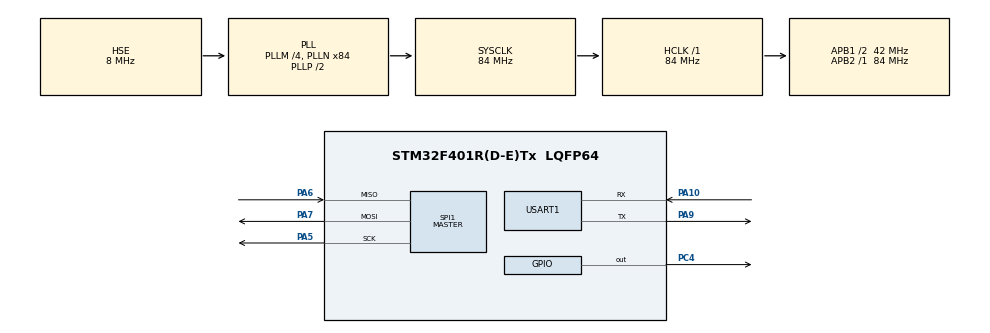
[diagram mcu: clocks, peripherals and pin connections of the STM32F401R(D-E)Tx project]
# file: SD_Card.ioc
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FATFS._MAX_SS=4096
FATFS._USE_LFN=1
Mcu.Family=STM32F4
Mcu.Name=STM32F401R(D-E)Tx
Mcu.Package=LQFP64
NVIC.PriorityGroup=NVIC_PRIORITYGROUP_0
PA10.Mode=Asynchronous
PA10.Signal=USART1_RX
PA13.Mode=Serial_Wire
PA13.Signal=SYS_JTMS-SWDIO
PA14.Mode=Serial_Wire
PA14.Signal=SYS_JTCK-SWCLK
PA5.Mode=Full_Duplex_Master
PA5.Signal=SPI1_SCK
PA6.Mode=Full_Duplex_Master
PA6.Signal=SPI1_MISO
PA7.Mode=Full_Duplex_Master
PA7.Signal=SPI1_MOSI
PA9.Mode=Asynchronous
PA9.Signal=USART1_TX
PC4.Signal=GPIO_Output
PH0\ -\ OSC_IN.Mode=HSE-External-Oscillator
PH0\ -\ OSC_IN.Signal=RCC_OSC_IN
PH1\ -\ OSC_OUT.Mode=HSE-External-Oscillator
PH1\ -\ OSC_OUT.Signal=RCC_OSC_OUT
ProjectManager.HeapSize=0x200
ProjectManager.StackSize=0x400
ProjectManager.TargetToolchain=STM32CubeIDE
RCC.48MHZClocksFreq_Value=24000000
RCC.AHBFreq_Value=84000000
RCC.APB1CLKDivider=RCC_HCLK_DIV2
RCC.APB1Freq_Value=42000000
RCC.APB1TimFreq_Value=84000000
RCC.APB2Freq_Value=84000000
RCC.APB2TimFreq_Value=84000000
RCC.CortexFreq_Value=84000000
RCC.HCLKFreq_Value=84000000
RCC.HSE_VALUE=8000000
RCC.HSI_VALUE=16000000
RCC.LSE_VALUE=32768
RCC.PLLM=4
RCC.PLLN=84
RCC.PLLQ=7
RCC.PLLSourceVirtual=RCC_PLLSOURCE_HSE
RCC.SYSCLKFreq_VALUE=84000000
RCC.SYSCLKSource=RCC_SYSCLKSOURCE_PLLCLK
RCC.VCOOutputFreq_Value=168000000
SPI1.BaudRatePrescaler=SPI_BAUDRATEPRESCALER_8
SPI1.Direction=SPI_DIRECTION_2LINES
SPI1.Mode=SPI_MODE_MASTER
SPI1.VirtualType=VM_MASTER
USART1.VirtualMode=VM_ASYNC
VP_FATFS_VS_Generic.Mode=User_defined
board=NUCLEO-F401RE

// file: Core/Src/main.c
/* USER CODE BEGIN Header */
/**
  ******************************************************************************
  * @file           : main.c
  * @brief          : Main program body
  ******************************************************************************
  * @attention
  *
  * <h2><center>&copy; Copyright (c) 2020 STMicroelectronics.
  * All rights reserved.</center></h2>
  *
  * This software component is licensed by ST under Ultimate Liberty license
  * SLA0044, the "License"; You may not use this file except in compliance with
  * the License. You may obtain a copy of the License at:
  *                             www.st.com/SLA0044
  *
  ******************************************************************************
  */
/* USER CODE END Header */

#include "main.h"
#include "fatfs.h"

/* USER CODE BEGIN Includes */
#include "fatfs_sd.h"
#include "string.h"
#include "stdio.h"
/* USER CODE END Includes */

SPI_HandleTypeDef hspi1;

UART_HandleTypeDef huart1;

void SystemClock_Config(void);
static void MX_GPIO_Init(void);
static void MX_SPI1_Init(void);
static void MX_USART1_UART_Init(void);

/* USER CODE BEGIN 0 */
FATFS fs; //system
FIL fil; //file
FRESULT fresult; //to store result
char buffer[1024]; //to storre data

UINT br,bw; //file read Write count

// capacity related variables
FATFS *pfs;
DWORD fre_clust;
uint32_t total, free_space;

//send data on uart
void send_uart(char *string)
{
	uint8_t len = strlen(string);
	HAL_UART_Transmit(&huart1, (uint8_t *)string, len, 2000);
}

//to find the size  of data in the buffer
int bufsize(char *buf)
{
	int i=0;
	while(*buf++ != '\0') i++;
	return i;
}

void bufclear(void)
{
	for(int i=0;i<1024;i++)
	{
		buffer[i] = '\0';
	}
}
/* USER CODE END 0 */

int main(void)
{

  /* MCU Configuration--------------------------------------------------------*/

  /* Reset of all peripherals, Initializes the Flash interface and the Systick. */
  HAL_Init();

  /* Configure the system clock */
  SystemClock_Config();

  /* Initialize all configured peripherals */
  MX_GPIO_Init();
  MX_SPI1_Init();
  MX_USART1_UART_Init();
  MX_FATFS_Init();
  /* USER CODE BEGIN 2 */
  fresult = f_mount(&fs, "", 0);    //  fresult = f_mount(&fs, "/", 1);
  if (fresult != FR_OK) send_uart ("ERROR!!! in mounting SD CARD...\n\n");
  else send_uart("SD CARD mounted successfully...\n\n");

  //CARD CAPACiTY
  f_getfree("",&fre_clust,&pfs);

  total = (uint32_t)((pfs->n_fatent - 2) * pfs->csize * 0.5);
  sprintf(buffer,"SD card total size: \t%lu\n",total);
  send_uart(buffer);
  bufclear();
  free_space = (uint32_t)(fre_clust * pfs->csize * 0.5);
  sprintf(buffer,"SD card total size: \t%lu\n",free_space);
  send_uart(buffer);

  //PUTS GETS
  fresult = f_open(&fil, "file1.txt", FA_OPEN_ALWAYS | FA_READ | FA_WRITE);
  fresult =f_puts("Hello",&fil);

  fresult = f_close(&fil);
  send_uart("File1 created and modified");
  fresult = f_open(&fil,"file1.txt",FA_READ);
  f_gets(buffer, sizeof(buffer), &fil); //fil.fsize
  send_uart(buffer);
  f_close(&fil);
  bufclear();
  /* USER CODE END 2 */

  /* Infinite loop */
  while (1)
  {

  }
}

void SystemClock_Config(void)
{
  RCC_OscInitTypeDef RCC_OscInitStruct = {0};
  RCC_ClkInitTypeDef RCC_ClkInitStruct = {0};

  /** Configure the main internal regulator output voltage
  */
  __HAL_RCC_PWR_CLK_ENABLE();
  __HAL_PWR_VOLTAGESCALING_CONFIG(PWR_REGULATOR_VOLTAGE_SCALE2);
  /** Initializes the CPU, AHB and APB busses clocks
  */
  RCC_OscInitStruct.OscillatorType = RCC_OSCILLATORTYPE_HSE;
  RCC_OscInitStruct.HSEState = RCC_HSE_ON;
  RCC_OscInitStruct.PLL.PLLState = RCC_PLL_ON;
  RCC_OscInitStruct.PLL.PLLSource = RCC_PLLSOURCE_HSE;
  RCC_OscInitStruct.PLL.PLLM = 4;
  RCC_OscInitStruct.PLL.PLLN = 84;
  RCC_OscInitStruct.PLL.PLLP = RCC_PLLP_DIV2;
  RCC_OscInitStruct.PLL.PLLQ = 7;
  if (HAL_RCC_OscConfig(&RCC_OscInitStruct) != HAL_OK)
  {
    Error_Handler();
  }
  /** Initializes the CPU, AHB and APB busses clocks
  */
  RCC_ClkInitStruct.ClockType = RCC_CLOCKTYPE_HCLK|RCC_CLOCKTYPE_SYSCLK
                              |RCC_CLOCKTYPE_PCLK1|RCC_CLOCKTYPE_PCLK2;
  RCC_ClkInitStruct.SYSCLKSource = RCC_SYSCLKSOURCE_PLLCLK;
  RCC_ClkInitStruct.AHBCLKDivider = RCC_SYSCLK_DIV1;
  RCC_ClkInitStruct.APB1CLKDivider = RCC_HCLK_DIV2;
  RCC_ClkInitStruct.APB2CLKDivider = RCC_HCLK_DIV1;

  if (HAL_RCC_ClockConfig(&RCC_ClkInitStruct, FLASH_LATENCY_2) != HAL_OK)
  {
    Error_Handler();
  }
}

static void MX_SPI1_Init(void)
{

  /* SPI1 parameter configuration*/
  hspi1.Instance = SPI1;
  hspi1.Init.Mode = SPI_MODE_MASTER;
  hspi1.Init.Direction = SPI_DIRECTION_2LINES;
  hspi1.Init.DataSize = SPI_DATASIZE_8BIT;
  hspi1.Init.CLKPolarity = SPI_POLARITY_LOW;
  hspi1.Init.CLKPhase = SPI_PHASE_1EDGE;
  hspi1.Init.NSS = SPI_NSS_SOFT;
  hspi1.Init.BaudRatePrescaler = SPI_BAUDRATEPRESCALER_8;
  hspi1.Init.FirstBit = SPI_FIRSTBIT_MSB;
  hspi1.Init.TIMode = SPI_TIMODE_DISABLE;
  hspi1.Init.CRCCalculation = SPI_CRCCALCULATION_DISABLE;
  hspi1.Init.CRCPolynomial = 10;
  if (HAL_SPI_Init(&hspi1) != HAL_OK)
  {
    Error_Handler();
  }

}

static void MX_USART1_UART_Init(void)
{

  huart1.Instance = USART1;
  huart1.Init.BaudRate = 115200;
  huart1.Init.WordLength = UART_WORDLENGTH_8B;
  huart1.Init.StopBits = UART_STOPBITS_1;
  huart1.Init.Parity = UART_PARITY_NONE;
  huart1.Init.Mode = UART_MODE_TX_RX;
  huart1.Init.HwFlowCtl = UART_HWCONTROL_NONE;
  huart1.Init.OverSampling = UART_OVERSAMPLING_16;
  if (HAL_UART_Init(&huart1) != HAL_OK)
  {
    Error_Handler();
  }

}

static void MX_GPIO_Init(void)
{
  GPIO_InitTypeDef GPIO_InitStruct = {0};

  /* GPIO Ports Clock Enable */
  __HAL_RCC_GPIOH_CLK_ENABLE();
  __HAL_RCC_GPIOA_CLK_ENABLE();
  __HAL_RCC_GPIOC_CLK_ENABLE();

  /*Configure GPIO pin Output Level */
  HAL_GPIO_WritePin(GPIOC, GPIO_PIN_4, GPIO_PIN_RESET);

  /*Configure GPIO pin : PC4 */
  GPIO_InitStruct.Pin = GPIO_PIN_4;
  GPIO_InitStruct.Mode = GPIO_MODE_OUTPUT_PP;
  GPIO_InitStruct.Pull = GPIO_NOPULL;
  GPIO_InitStruct.Speed = GPIO_SPEED_FREQ_LOW;
  HAL_GPIO_Init(GPIOC, &GPIO_InitStruct);

}

void Error_Handler(void)
{
}

/************************ (C) COPYRIGHT STMicroelectronics *****END OF FILE****/
